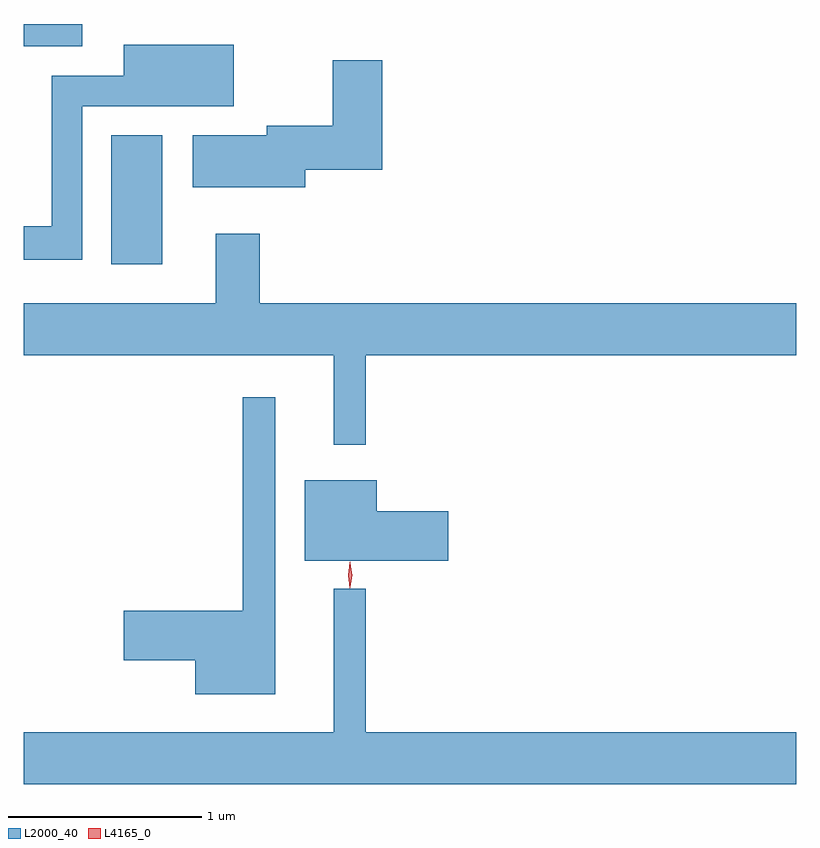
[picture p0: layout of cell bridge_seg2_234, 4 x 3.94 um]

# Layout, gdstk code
import gdstk
lib = gdstk.Library(unit=1e-6, precision=1e-09)
def R(c, l, rs):  # rectangles x0, y0, x1, y1
    for r in rs: c.add(gdstk.rectangle(r[:2], r[2:], *l))
def P(c, l, *ps):  # polygons
    for p in ps: c.add(gdstk.Polygon(p, *l))
L2000_40 = (2000, 40)
L4165_0 = (4165, 0)

bridge_seg2_234 = lib.new_cell('bridge_seg2_234')
R(bridge_seg2_234, L2000_40, [(587.451,1082.086,587.714,1082.754), (586.997,1083.216,587.299,1083.331)])
P(bridge_seg2_234, L2000_40, [(587.299,1082.906),(588.084,1082.906),(588.084,1083.224),(587.516,1083.224),(587.516,1083.064),(587.141,1083.064),(587.141,1082.284),(586.997,1082.284),(586.997,1082.111),(587.299,1082.111)],
  [(588.454,1082.576),(588.854,1082.576),(588.854,1083.144),(588.596,1083.144),(588.596,1082.804),(588.256,1082.804),(588.256,1082.754),(587.871,1082.754),(587.871,1082.486),(588.454,1082.486)],
  [(588.769,1081.616),(590.997,1081.616),(590.997,1081.884),(588.219,1081.884),(588.219,1082.244),(587.991,1082.244),(587.991,1081.884),(586.997,1081.884),(586.997,1081.616),(588.601,1081.616),(588.601,1081.153),(588.769,1081.153)],
  [(588.299,1081.398),(588.131,1081.398),(588.131,1080.294),(587.516,1080.294),(587.516,1080.036),(587.886,1080.036),(587.886,1079.861),(588.299,1079.861)],
  [(589.194,1080.809),(588.824,1080.809),(588.824,1080.969),(588.451,1080.969),(588.451,1080.551),(589.194,1080.551)],
  [(590.997,1079.664),(588.769,1079.664),(588.769,1080.408),(588.601,1080.408),(588.601,1079.664),(586.997,1079.664),(586.997,1079.396),(590.997,1079.396)])
P(bridge_seg2_234, L4165_0, [(588.687,1080.413),(588.686,1080.414),(588.677,1080.476),(588.686,1080.54),(588.687,1080.54),(588.687,1080.54),(588.697,1080.476),(588.687,1080.414)],
  [(588.684,1080.41),(588.676,1080.478),(588.686,1080.545),(588.687,1080.546),(588.687,1080.545),(588.696,1080.478),(588.686,1080.41),(588.685,1080.41)])

lib.write_gds('bridge_seg2_234.gds')
